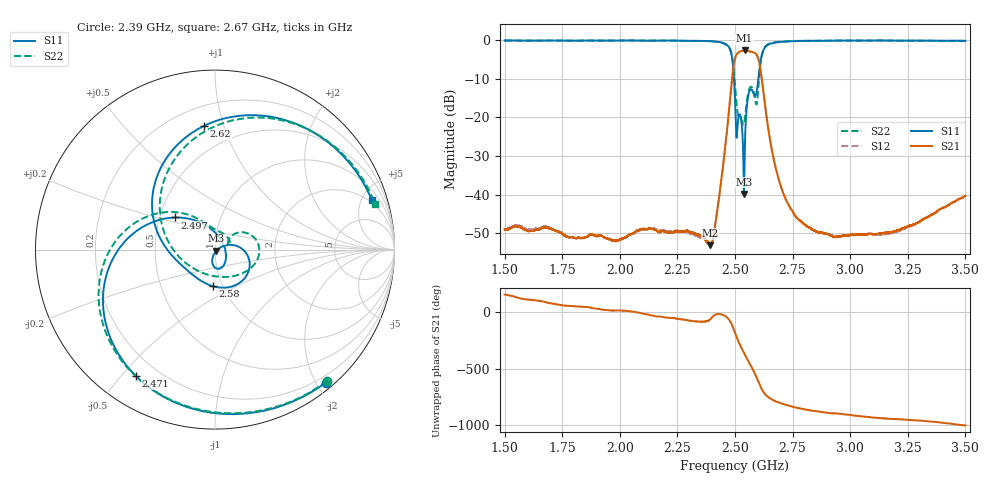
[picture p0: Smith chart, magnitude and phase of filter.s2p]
#  HZ  S  DB  R  50.00
! Rohde & Schwarz Vector Network Analyzer
! Rohde-Schwarz,ZNA43-4Port,1332450044101989,2.61
! Created: UTC 10/22/2024, 1:32:35 PM
! freq[Hz]  db:S11  ang:S11  db:S21  ang:S21  db:S12  ang:S12  db:S22  ang:S22
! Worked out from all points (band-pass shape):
!   9999 points, 1.5 GHz to 3.5 GHz, reference 50 ohm
!   highest |S21| = -2.75 dB at 2.542 GHz (marker M1); lowest = -53.0 dB at 2.394 GHz (marker M2)
!   |S21| within 3 dB of the highest: 2.497 GHz to 2.605 GHz (108.4 MHz wide, 4.25 % of centre)
!   lowest |S11| = -39.8 dB at 2.539 GHz (marker M3), VSWR 1.02, Z = 50.8 - j0.697 ohm
!   |S11| at or under -10 dB: 2.496 GHz to 2.601 GHz (105.7 MHz wide, 4.15 % of centre)
!   |S22| runs from -21.9 to -0.2 dB; largest |S21 - S12| = 0.0064
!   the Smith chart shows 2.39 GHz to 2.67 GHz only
!   S11 on the Smith chart (normalised r, x): 2.39 GHz: 0.10, -2.13; 2.471 GHz: 0.12, -0.55; 2.497 GHz: 0.60, +0.23; 2.58 GHz: 0.90, -0.38; 2.62 GHz: 0.33, +0.86; 2.67 GHz: 1.75, +6.01
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1.5e9  -0.17 149.4  -48.93 153.9  -48.84 155.6  -0.18 149.9
1.833467e9  -0.21 81.9  -51.17 46.7  -51.14 46.0  -0.18 82.8
2.166733e9  -0.21 12.0  -49.65 -40.8  -49.30 -40.2  -0.19 14.2
2.389578e9  -0.32 -50.2  -52.81 -70.9  -53.16 -70.1  -0.35 -49.5
2.393579e9  -0.33 -52.1  -53.04 -63.0  -53.17 -62.5  -0.37 -51.4
2.444789e9  -0.74 -85.7  -34.25 -23.5  -34.34 -23.1  -0.81 -87.6
2.470594e9  -1.60 -121.9  -20.35 -59.2  -20.41 -59.0  -1.73 -126.5
2.483597e9  -3.42 -157.5  -12.26 -99.3  -12.32 -99.2  -3.41 -163.1
2.496599e9  -10.90 141.1  -5.76 -165.3  -5.81 -165.1  -9.18 143.1
2.5e9  -15.16 118.9  -4.83 175.2  -4.88 175.5  -11.70 129.8
2.518604e9  -19.30 -73.0  -3.12 82.6  -3.16 82.8  -20.09 59.2
2.538808e9  -39.84 -42.4  -2.76 -0.5  -2.80 -0.4  -21.77 27.9
2.541608e9  -30.02 20.4  -2.75 -11.5  -2.79 -11.4  -20.87 34.5
2.560812e9  -13.53 -23.5  -2.96 -84.5  -3.00 -84.4  -12.92 17.9
2.579816e9  -13.81 -93.2  -3.21 -156.8  -3.27 -156.6  -13.27 -31.9
2.59962e9  -10.97 175.4  -4.57 115.5  -4.63 115.8  -13.57 -171.1
2.620024e9  -3.19 95.0  -11.85 24.7  -11.91 24.9  -3.17 88.7
2.670034e9  -0.76 17.5  -31.37 -62.5  -31.41 -62.4  -0.65 15.9
2.732847e9  -0.40 -16.7  -42.65 -107.0  -42.66 -107.2  -0.35 -15.6
2.833467e9  -0.26 -45.6  -48.92 -151.1  -48.96 -150.0  -0.24 -43.5
3.166733e9  -0.17 -106.9  -49.80 137.7  -50.13 141.3  -0.20 -104.5
3.5e9  -0.25 -164.6  -40.28 78.5  -40.39 75.0  -0.29 -162.1
